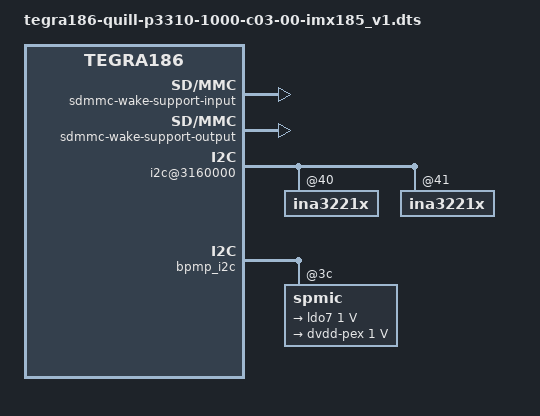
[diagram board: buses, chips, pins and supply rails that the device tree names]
/*
 * tegra186-quill-p3310-c03-00-base.dts Quill C03 Board
 *
 * Copyright (c) 2016-2019, NVIDIA CORPORATION. All rights reserved.
 *
 * This program is free software; you can redistribute it and/or modify
 * it under the terms of the GNU General Public License as published by
 * the Free Software Foundation; version 2 of the License.
 *
 * This program is distributed in the hope that it will be useful, but WITHOUT
 * ANY WARRANTY; without even the implied warranty of MERCHANTABILITY or
 * FITNESS FOR A PARTICULAR PURPOSE.  See the GNU General Public License for
 * more details.
 */

#include "tegra186-quill-p3310-1000-a00-00-imx185_v1.dts"

/ {
	nvidia,dtsfilename = __FILE__;
	nvidia,dtbbuildtime = __DATE__, __TIME__;
	nvidia,fastboot-usb-vid = <0x0955>;
	nvidia,fastboot-usb-pid = <0xee16>;

	pinmux@2430000 {
		common {
			gpio_edp2_pp5 {
				status = "okay";
			};

			gpio_edp3_pp6 {
				status = "okay";
			};
		};
	};

	gpio@2200000 {
		sdmmc-wake-support-input {
			status = "okay";
		};

		sdmmc-wake-support-output {
			status = "okay";
		};
	};

	fixed-regulators {
		regulator@1 {
			gpio = <&tegra_main_gpio TEGRA_MAIN_GPIO(P, 6) 0>;
                };
	};

	sdhci@3400000 {
		cd-gpios = <&tegra_main_gpio TEGRA_MAIN_GPIO(P, 5) 0>;
		nvidia,cd-wakeup-capable;
	};

	i2c@3160000 {
		ina3221x@40 {
			channel@0 {
				ti,shunt-resistor-mohm = <10>;
			};
			channel@1 {
				ti,shunt-resistor-mohm = <10>;
			};
		};
		ina3221x@41 {
			channel@0 {
				ti,shunt-resistor-mohm = <20>;
			};
			channel@1 {
				ti,shunt-resistor-mohm = <10>;
			};
			channel@2 {
				ti,rail-name = "VDD_SYS_DDR";
				ti,shunt-resistor-mohm = <10>;
			};
		};
	};

	i2c@c240000 {
		bmi160@69 {
			compatible = "bmi,bmi160";
			reg = <0x69>;
			interrupt-parent = <&tegra_aon_gpio>;
			interrupts = <TEGRA_AON_GPIO(AA, 2) 0x01>;
			accelerometer_matrix    = [01 00 00 00 01 00 00 00 01];
			gyroscope_matrix        = [01 00 00 00 01 00 00 00 01];
			accelerometer_delay_us_min = <1250>;
			gyroscope_delay_us_min = <1250>;
			vdd-supply = <&spmic_sd3>;
			vdd_IO-supply = <&spmic_sd3>;
			status = "disabled";
		};
	};

	mttcan@c310000 {
		status = "okay";
		gpio_can_stb = <&tegra_aon_gpio TEGRA_AON_GPIO(AA, 0) GPIO_ACTIVE_HIGH>;
		gpio_can_en = <&tegra_aon_gpio TEGRA_AON_GPIO(AA, 1) GPIO_ACTIVE_HIGH>;
		mram-params = <0 16 16 8 8 8 16 16 16>;
		tx-config = <8 8 0 64>;
		rx-config = <64 64 64>;
	};

	mttcan@c320000 {
		status = "okay";
		gpio_can_stb = <&tegra_aon_gpio TEGRA_AON_GPIO(AA, 6) GPIO_ACTIVE_HIGH>;
		gpio_can_en = <&tegra_aon_gpio TEGRA_AON_GPIO(AA, 7) GPIO_ACTIVE_HIGH>;
		mram-params = <0 16 16 8 8 8 16 16 16>;
		tx-config = <8 8 0 64>;
		rx-config = <64 64 64>;
	};

	ahci-sata@3507000 {
		gpios = <&spmic 7 0>;
	};

	pcie-controller@10003000 {
		pci@1,0 {
			nvidia,num-lanes = <4>;
			nvidia,disable-clock-request;
		};
		pci@2,0 {
			nvidia,num-lanes = <0>;
		};
		pci@3,0 {
			nvidia,num-lanes = <1>;
		};
	};

        xhci@3530000 {
		phys = <&tegra_xusb_padctl TEGRA_PADCTL_PHY_UTMI_P(0)>,
			<&tegra_xusb_padctl TEGRA_PADCTL_PHY_UTMI_P(1)>,
			<&tegra_xusb_padctl TEGRA_PADCTL_PHY_USB3_P(0)>;
		phy-names = "utmi-0", "utmi-1", "usb3-0";
	};

	pinctrl@3520000 {
		pinmux {
			usb3-std-A-port2 {
				nvidia,lanes = "usb3-0";
			};
		};
	};

       bluedroid_pm {
		bluedroid_pm,reset-gpio = <&tegra_main_gpio TEGRA_MAIN_GPIO(H, 5) 0>;
        };

	bpmp_i2c {
		spmic@3c {
			pinmux@0 {
				pin_gpio2 {
					status = "disabled";
				};
				pin_gpio3 {
					status = "disabled";
				};
				pin_gpio7 {
					drive-push-pull = <1>;
				};
			};

			regulators {
				ldo0 {
					maxim,active-fps-source = <MAX77620_FPS_SRC_NONE>;
				};

				ldo6 {
					maxim,active-fps-source = <MAX77620_FPS_SRC_NONE>;
					regulator-boot-on;
					regulator-always-on;
				};

				ldo7 {
					regulator-min-microvolt = <1000000>;
					regulator-max-microvolt = <1000000>;
				};

				ldo8 {
					regulator-name = "dvdd-pex";
					regulator-min-microvolt = <1000000>;
					regulator-max-microvolt = <1000000>;
				};
			};
		};
	};
};
